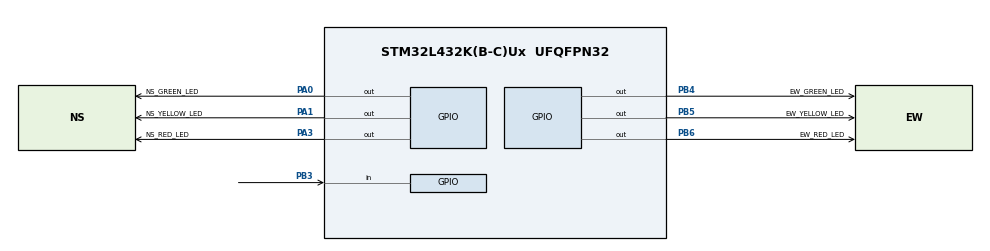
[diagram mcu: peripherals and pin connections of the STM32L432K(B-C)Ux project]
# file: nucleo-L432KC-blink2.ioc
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Mcu.Family=STM32L4
Mcu.Name=STM32L432K(B-C)Ux
Mcu.Package=UFQFPN32
NVIC.PriorityGroup=NVIC_PRIORITYGROUP_4
PA0.GPIO_Label=NS_GREEN_LED
PA0.Signal=GPIO_Output
PA1.GPIO_Label=NS_YELLOW_LED
PA1.Signal=GPIO_Output
PA3.GPIO_Label=NS_RED_LED
PA3.Signal=GPIO_Output
PB3\ (JTDO-TRACESWO).Signal=GPIO_Input
PB4\ (NJTRST).GPIO_Label=EW_GREEN_LED
PB4\ (NJTRST).Signal=GPIO_Output
PB5.GPIO_Label=EW_YELLOW_LED
PB5.Signal=GPIO_Output
PB6.GPIO_Label=EW_RED_LED
PB6.Signal=GPIO_Output
ProjectManager.HeapSize=0x200
ProjectManager.StackSize=0x400
ProjectManager.TargetToolchain=STM32CubeIDE
RCC.HSE_VALUE=8000000
RCC.HSI48_VALUE=48000000
RCC.HSI_VALUE=16000000
RCC.LSE_VALUE=32768
RCC.MSI_VALUE=4000000
RCC.VCOOutputFreq_Value=32000000
board=custom

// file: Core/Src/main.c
/* USER CODE BEGIN Header */
/**
  ******************************************************************************
  * @file           : main.c
  * @brief          : Main program body
  ******************************************************************************
  * @attention
  *
  * <h2><center>&copy; Copyright (c) 2021 STMicroelectronics.
  * All rights reserved.</center></h2>
  *
  * This software component is licensed by ST under BSD 3-Clause license,
  * the "License"; You may not use this file except in compliance with the
  * License. You may obtain a copy of the License at:
  *                        opensource.org/licenses/BSD-3-Clause
  *
  ******************************************************************************
  */
/* USER CODE END Header */
#include "main.h"

void SystemClock_Config(void);
static void MX_GPIO_Init(void);

/* USER CODE BEGIN 0 */
typedef enum
{
	Transition_NS_State,
	NS_Pass_EW_Stop_State,
	All_Stop_EW_State,
	NS_Stop_EW_Pass_State,
	Transition_EW_State,
	All_Stop_NS_State
}eSystemState;

/* Prototype Event Handlers */
eSystemState NorthSouthPassHandler(void)
{
	HAL_GPIO_WritePin(GPIOA, NS_GREEN_LED_Pin, GPIO_PIN_SET);
	HAL_GPIO_WritePin(GPIOA, NS_YELLOW_LED_Pin, GPIO_PIN_RESET);
	HAL_GPIO_WritePin(GPIOA, NS_RED_LED_Pin, GPIO_PIN_RESET);

	HAL_GPIO_WritePin(GPIOA, EW_GREEN_LED_Pin, GPIO_PIN_RESET);
	HAL_GPIO_WritePin(GPIOA, EW_YELLOW_LED_Pin, GPIO_PIN_RESET);
	HAL_GPIO_WritePin(GPIOA, EW_RED_LED_Pin, GPIO_PIN_SET);

	HAL_Delay(5*1000); //10 seconds
	return Transition_NS_State;

}

eSystemState TransitionNorthSouthHandler(void)
{
	HAL_GPIO_WritePin(GPIOA, NS_GREEN_LED_Pin, GPIO_PIN_RESET);
	HAL_GPIO_WritePin(GPIOA, NS_YELLOW_LED_Pin, GPIO_PIN_SET);
	HAL_GPIO_WritePin(GPIOA, NS_RED_LED_Pin, GPIO_PIN_RESET);

	HAL_GPIO_WritePin(GPIOB, EW_GREEN_LED_Pin, GPIO_PIN_RESET);
	HAL_GPIO_WritePin(GPIOB, EW_YELLOW_LED_Pin, GPIO_PIN_RESET);
	HAL_GPIO_WritePin(GPIOB, EW_RED_LED_Pin, GPIO_PIN_SET);

	HAL_Delay(5*1000); //5 seconds
	return All_Stop_EW_State;
}

eSystemState AllStopEastWestHandler(void)
{
	HAL_GPIO_WritePin(GPIOA, NS_GREEN_LED_Pin, GPIO_PIN_RESET);
	HAL_GPIO_WritePin(GPIOA, NS_YELLOW_LED_Pin, GPIO_PIN_RESET);
	HAL_GPIO_WritePin(GPIOA, NS_RED_LED_Pin, GPIO_PIN_SET);

	HAL_GPIO_WritePin(GPIOB, EW_GREEN_LED_Pin, GPIO_PIN_RESET);
	HAL_GPIO_WritePin(GPIOB, EW_YELLOW_LED_Pin, GPIO_PIN_RESET);
	HAL_GPIO_WritePin(GPIOB, EW_RED_LED_Pin, GPIO_PIN_SET);

	HAL_Delay(5*1000); //5 seconds
	return NS_Stop_EW_Pass_State;
}

eSystemState EastWestPassHandler(void)
{
	HAL_GPIO_WritePin(GPIOA, NS_GREEN_LED_Pin, GPIO_PIN_RESET);
	HAL_GPIO_WritePin(GPIOA, NS_YELLOW_LED_Pin, GPIO_PIN_RESET);
	HAL_GPIO_WritePin(GPIOA, NS_RED_LED_Pin, GPIO_PIN_SET);

	HAL_GPIO_WritePin(GPIOB, EW_GREEN_LED_Pin, GPIO_PIN_SET);
	HAL_GPIO_WritePin(GPIOB, EW_YELLOW_LED_Pin, GPIO_PIN_RESET);
	HAL_GPIO_WritePin(GPIOB, EW_RED_LED_Pin, GPIO_PIN_RESET);

	//HAL_Delay(5*1000); //10 seconds
	return NS_Stop_EW_Pass_State;
}

eSystemState TransitionEastWestHandler(void)
{
	HAL_GPIO_WritePin(GPIOA, NS_GREEN_LED_Pin, GPIO_PIN_RESET);
	HAL_GPIO_WritePin(GPIOA, NS_YELLOW_LED_Pin, GPIO_PIN_RESET);
	HAL_GPIO_WritePin(GPIOA, NS_RED_LED_Pin, GPIO_PIN_SET);

	HAL_GPIO_WritePin(GPIOB, EW_GREEN_LED_Pin, GPIO_PIN_RESET);
	HAL_GPIO_WritePin(GPIOB, EW_YELLOW_LED_Pin, GPIO_PIN_SET);
	HAL_GPIO_WritePin(GPIOB, EW_RED_LED_Pin, GPIO_PIN_RESET);

	HAL_Delay(5*1000); //5 seconds
	return All_Stop_NS_State;
}

eSystemState AllStopNorthSouthHandler(void)
{
	HAL_GPIO_WritePin(GPIOA, NS_GREEN_LED_Pin, GPIO_PIN_RESET);
	HAL_GPIO_WritePin(GPIOA, NS_YELLOW_LED_Pin, GPIO_PIN_RESET);
	HAL_GPIO_WritePin(GPIOA, NS_RED_LED_Pin, GPIO_PIN_SET);

	HAL_GPIO_WritePin(GPIOB, EW_GREEN_LED_Pin, GPIO_PIN_RESET);
	HAL_GPIO_WritePin(GPIOB, EW_YELLOW_LED_Pin, GPIO_PIN_RESET);
	HAL_GPIO_WritePin(GPIOB, EW_RED_LED_Pin, GPIO_PIN_SET);

	HAL_Delay(5*1000); //5 seconds
	return NS_Pass_EW_Stop_State;
}

/* USER CODE END 0 */

int main(void)
{

  /* MCU Configuration--------------------------------------------------------*/

  /* Reset of all peripherals, Initializes the Flash interface and the Systick. */
  HAL_Init();

  /* Configure the system clock */
  SystemClock_Config();

  /* Initialize all configured peripherals */
  MX_GPIO_Init();
  /* USER CODE BEGIN 2 */
  /*Declare eNextState and initialize it to All Stop North South */
  eSystemState eNextState = NS_Stop_EW_Pass_State;

  /* USER CODE END 2 */

  /* Infinite loop */
  /* USER CODE BEGIN WHILE */
  while (1)
      {

	  if(HAL_GPIO_ReadPin(GPIOB, GPIO_PIN_3))
		       	  {

		       		eNextState = Transition_EW_State;

		       	  }
  	  switch(eNextState)
  	  {

  	  case Transition_NS_State: eNextState = TransitionNorthSouthHandler();
  	  break;

  	  case NS_Pass_EW_Stop_State: eNextState = NorthSouthPassHandler();
  	  break;

  	  case All_Stop_EW_State: eNextState = AllStopEastWestHandler();
  	  break;

  	  case NS_Stop_EW_Pass_State: eNextState = EastWestPassHandler();
  	  break;

  	  case Transition_EW_State: eNextState = TransitionEastWestHandler();
  	  break;

  	  case All_Stop_NS_State: eNextState = AllStopNorthSouthHandler();
  	  break;

  	  default: eNextState = AllStopNorthSouthHandler();
  	  break;
  	  }

      }

      /* USER CODE END WHILE */

  }

void SystemClock_Config(void)
{
  RCC_OscInitTypeDef RCC_OscInitStruct = {0};
  RCC_ClkInitTypeDef RCC_ClkInitStruct = {0};

  /** Configure the main internal regulator output voltage
  */
  if (HAL_PWREx_ControlVoltageScaling(PWR_REGULATOR_VOLTAGE_SCALE1) != HAL_OK)
  {
    Error_Handler();
  }
  /** Initializes the RCC Oscillators according to the specified parameters
  * in the RCC_OscInitTypeDef structure.
  */
  RCC_OscInitStruct.OscillatorType = RCC_OSCILLATORTYPE_MSI;
  RCC_OscInitStruct.MSIState = RCC_MSI_ON;
  RCC_OscInitStruct.MSICalibrationValue = 0;
  RCC_OscInitStruct.MSIClockRange = RCC_MSIRANGE_6;
  RCC_OscInitStruct.PLL.PLLState = RCC_PLL_NONE;
  if (HAL_RCC_OscConfig(&RCC_OscInitStruct) != HAL_OK)
  {
    Error_Handler();
  }
  /** Initializes the CPU, AHB and APB buses clocks
  */
  RCC_ClkInitStruct.ClockType = RCC_CLOCKTYPE_HCLK|RCC_CLOCKTYPE_SYSCLK
                              |RCC_CLOCKTYPE_PCLK1|RCC_CLOCKTYPE_PCLK2;
  RCC_ClkInitStruct.SYSCLKSource = RCC_SYSCLKSOURCE_MSI;
  RCC_ClkInitStruct.AHBCLKDivider = RCC_SYSCLK_DIV1;
  RCC_ClkInitStruct.APB1CLKDivider = RCC_HCLK_DIV1;
  RCC_ClkInitStruct.APB2CLKDivider = RCC_HCLK_DIV1;

  if (HAL_RCC_ClockConfig(&RCC_ClkInitStruct, FLASH_LATENCY_0) != HAL_OK)
  {
    Error_Handler();
  }
}

static void MX_GPIO_Init(void)
{
  GPIO_InitTypeDef GPIO_InitStruct = {0};

  /* GPIO Ports Clock Enable */
  __HAL_RCC_GPIOA_CLK_ENABLE();
  __HAL_RCC_GPIOB_CLK_ENABLE();

  /*Configure GPIO pin Output Level */
  HAL_GPIO_WritePin(GPIOA, NS_GREEN_LED_Pin|NS_YELLOW_LED_Pin|NS_RED_LED_Pin, GPIO_PIN_RESET);

  /*Configure GPIO pin Output Level */
  HAL_GPIO_WritePin(GPIOB, EW_GREEN_LED_Pin|EW_YELLOW_LED_Pin|EW_RED_LED_Pin, GPIO_PIN_RESET);

  /*Configure GPIO pins : NS_GREEN_LED_Pin NS_YELLOW_LED_Pin NS_RED_LED_Pin */
  GPIO_InitStruct.Pin = NS_GREEN_LED_Pin|NS_YELLOW_LED_Pin|NS_RED_LED_Pin;
  GPIO_InitStruct.Mode = GPIO_MODE_OUTPUT_PP;
  GPIO_InitStruct.Pull = GPIO_NOPULL;
  GPIO_InitStruct.Speed = GPIO_SPEED_FREQ_LOW;
  HAL_GPIO_Init(GPIOA, &GPIO_InitStruct);

  /*Configure GPIO pin : PB3 */
  GPIO_InitStruct.Pin = GPIO_PIN_3;
  GPIO_InitStruct.Mode = GPIO_MODE_INPUT;
  GPIO_InitStruct.Pull = GPIO_NOPULL;
  HAL_GPIO_Init(GPIOB, &GPIO_InitStruct);

  /*Configure GPIO pins : EW_GREEN_LED_Pin EW_YELLOW_LED_Pin EW_RED_LED_Pin */
  GPIO_InitStruct.Pin = EW_GREEN_LED_Pin|EW_YELLOW_LED_Pin|EW_RED_LED_Pin;
  GPIO_InitStruct.Mode = GPIO_MODE_OUTPUT_PP;
  GPIO_InitStruct.Pull = GPIO_NOPULL;
  GPIO_InitStruct.Speed = GPIO_SPEED_FREQ_LOW;
  HAL_GPIO_Init(GPIOB, &GPIO_InitStruct);

}

void Error_Handler(void)
{
  __disable_irq();
  while (1)
  {
  }
}

/************************ (C) COPYRIGHT STMicroelectronics *****END OF FILE****/
